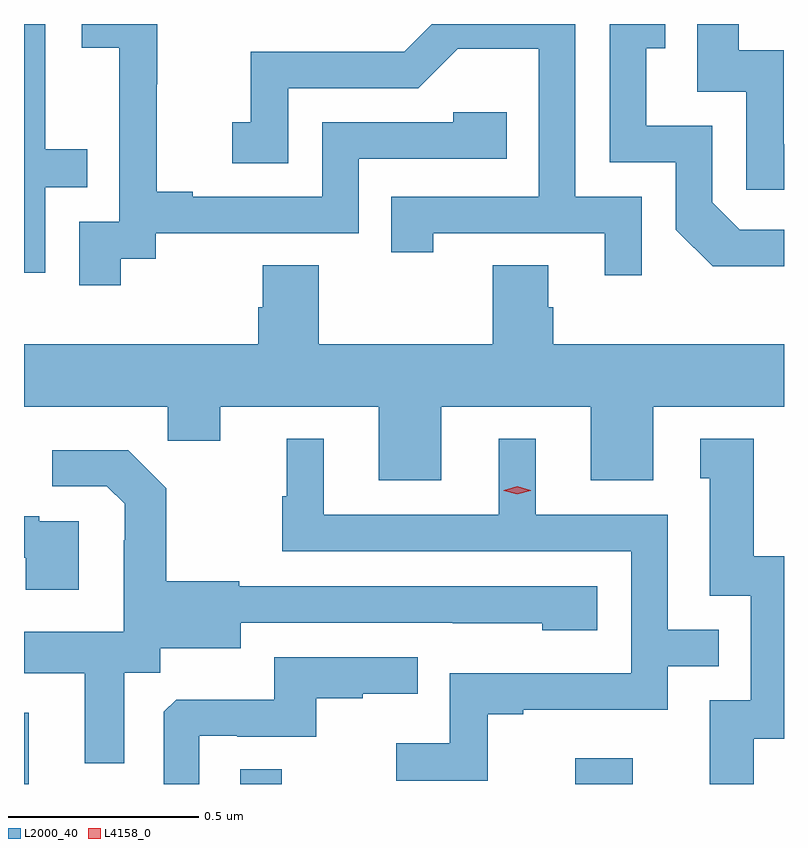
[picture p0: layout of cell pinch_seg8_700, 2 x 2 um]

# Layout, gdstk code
import gdstk
lib = gdstk.Library(unit=1e-6, precision=1e-09)
def R(c, l, rs):  # rectangles x0, y0, x1, y1
    for r in rs: c.add(gdstk.rectangle(r[:2], r[2:], *l))
def P(c, l, *ps):  # polygons
    for p in ps: c.add(gdstk.Polygon(p, *l))
L2000_40 = (2000, 40)
L4158_0 = (4158, 0)

pinch_seg8_700 = lib.new_cell('pinch_seg8_700')
R(pinch_seg8_700, L2000_40, [(349.867,1107.515,349.879,1107.703), (350.436,1107.515,350.545,1107.554), (351.317,1107.515,351.469,1107.583)])
P(pinch_seg8_700, L2000_40, [(351.867,1108.974),(351.75,1108.974),(351.678,1109.046),(351.678,1109.247),(351.505,1109.247),(351.505,1109.451),(351.554,1109.451),(351.554,1109.515),(351.408,1109.515),(351.408,1109.151),(351.582,1109.151),(351.582,1108.974),(351.68,1108.877),(351.867,1108.877)],
  [(350.122,1108.897),(350.214,1108.897),(350.214,1108.965),(350.748,1108.965),(350.748,1109.16),(351.137,1109.16),(351.137,1109.283),(350.997,1109.283),(350.997,1109.256),(350.652,1109.256),(350.652,1109.061),(350.311,1109.061),(350.311,1109.074),(350.216,1109.074),(350.216,1109.357),(350.217,1109.357),(350.217,1109.515),(350.019,1109.515),(350.019,1109.453),(350.117,1109.453),(350.117,1109.225),(350.118,1109.225),(350.118,1108.995),(350.013,1108.995),(350.013,1108.827),(350.122,1108.827)],
  [(351.867,1109.199),(351.866,1109.199),(351.866,1109.446),(351.748,1109.446),(351.748,1109.515),(351.639,1109.515),(351.639,1109.337),(351.768,1109.337),(351.768,1109.079),(351.867,1109.079)],
  [(349.923,1109.085),(350.033,1109.085),(350.033,1109.186),(349.923,1109.186),(349.923,1109.515),(349.867,1109.515),(349.867,1108.86),(349.923,1108.86)],
  [(351.492,1109.061),(351.318,1109.061),(351.318,1109.515),(350.94,1109.515),(350.867,1109.442),(350.464,1109.442),(350.464,1109.257),(350.415,1109.257),(350.415,1109.148),(350.562,1109.148),(350.562,1109.346),(350.904,1109.346),(351.008,1109.45),(351.222,1109.45),(351.222,1109.061),(350.833,1109.061),(350.833,1108.914),(350.944,1108.914),(350.944,1108.965),(351.395,1108.965),(351.395,1108.854),(351.492,1108.854)],
  [(350.965,1108.508),(351.359,1108.508),(351.359,1108.314),(351.523,1108.314),(351.523,1108.508),(351.867,1108.508),(351.867,1108.672),(351.26,1108.672),(351.26,1108.77),(351.247,1108.77),(351.247,1108.88),(351.1,1108.88),(351.1,1108.672),(350.643,1108.672),(350.643,1108.88),(350.495,1108.88),(350.495,1108.77),(350.483,1108.77),(350.483,1108.672),(349.867,1108.672),(349.867,1108.508),(350.245,1108.508),(350.245,1108.418),(350.383,1108.418),(350.383,1108.508),(350.801,1108.508),(350.801,1108.314),(350.965,1108.314)],
  [(351.087,1107.699),(351.181,1107.699),(351.181,1107.711),(351.561,1107.711),(351.561,1107.825),(351.695,1107.825),(351.695,1107.921),(351.561,1107.921),(351.561,1108.224),(351.214,1108.224),(351.214,1108.423),(351.116,1108.423),(351.116,1108.224),(350.656,1108.224),(350.656,1108.423),(350.558,1108.423),(350.558,1108.272),(350.547,1108.272),(350.547,1108.128),(351.465,1108.128),(351.465,1107.807),(350.988,1107.807),(350.988,1107.622),(350.847,1107.622),(350.847,1107.524),(351.087,1107.524)],
  [(351.787,1107.634),(351.867,1107.634),(351.867,1108.115),(351.787,1108.115),(351.787,1108.423),(351.647,1108.423),(351.647,1108.32),(351.671,1108.32),(351.671,1108.011),(351.78,1108.011),(351.78,1107.735),(351.671,1107.735),(351.671,1107.515),(351.787,1107.515)],
  [(350.131,1107.808),(350.226,1107.808),(350.226,1107.872),(350.437,1107.872),(350.437,1107.939),(350.995,1107.939),(350.995,1107.938),(351.231,1107.938),(351.231,1107.92),(351.376,1107.92),(351.376,1108.035),(350.433,1108.035),(350.433,1108.048),(350.241,1108.048),(350.241,1108.293),(350.141,1108.393),(349.941,1108.393),(349.941,1108.299),(350.085,1108.299),(350.132,1108.252),(350.132,1108.157),(350.13,1108.157),(350.13,1107.916),(349.867,1107.916),(349.867,1107.806),(350.027,1107.806),(350.027,1107.57),(350.131,1107.57)],
  [(350.011,1108.206),(349.907,1108.206),(349.907,1108.219),(349.867,1108.219),(349.867,1108.11),(349.871,1108.11),(349.871,1108.026),(350.011,1108.026)],
  [(350.328,1107.642),(350.428,1107.642),(350.428,1107.639),(350.636,1107.639),(350.636,1107.741),(350.759,1107.741),(350.759,1107.752),(350.903,1107.752),(350.903,1107.849),(350.526,1107.849),(350.526,1107.737),(350.267,1107.737),(350.235,1107.705),(350.235,1107.515),(350.328,1107.515)])
P(pinch_seg8_700, L4158_0, [(351.165,1108.278),(351.129,1108.287),(351.129,1108.288),(351.129,1108.288),(351.165,1108.298),(351.201,1108.288),(351.201,1108.288),(351.201,1108.287)])

lib.write_gds('pinch_seg8_700.gds')
